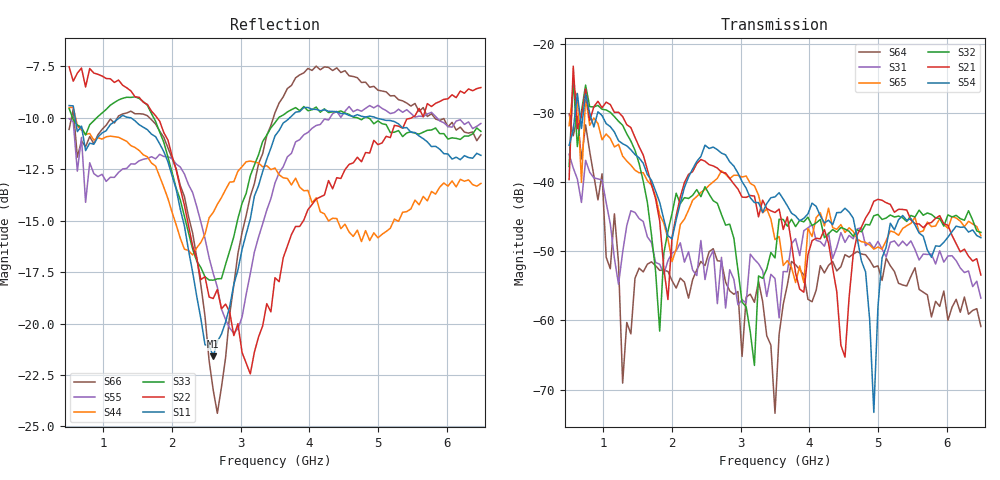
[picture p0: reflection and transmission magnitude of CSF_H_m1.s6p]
!Keysight Technologies,M9804A,MY58100912,A.14.10.03
!Date: Thursday, April 27, 2023 10:28:33
!Correction: S11(C  6-Port  )
!S12(C  6-Port  )
!S13(C  6-Port  )
!S14(C  6-Port  )
!S15(C  6-Port  )
!S16(C  6-Port  )
!S21(C  6-Port  )
!S22(C  6-Port  )
!S23(C  6-Port  )
!S24(C  6-Port  )
!S25(C  6-Port  )
!S26(C  6-Port  )
!S31(C  6-Port  )
!S32(C  6-Port  )
!S33(C  6-Port  )
!S34(C  6-Port  )
!S35(C  6-Port  )
!S36(C  6-Port  )
!S41(C  6-Port  )
!S42(C  6-Port  )
!S43(C  6-Port  )
!S44(C  6-Port  )
!S45(C  6-Port  )
!S46(C  6-Port  )
!S51(C  6-Port  )
!S52(C  6-Port  )
!S53(C  6-Port  )
!S54(C  6-Port  )
!S55(C  6-Port  )
!S56(C  6-Port  )
!S61(C  6-Port  )
!S62(C  6-Port  )
!S63(C  6-Port  )
!S64(C  6-Port  )
!S65(C  6-Port  )
!S66(C  6-Port  )
!S6P File: Measurement: :
# Hz S  RI  R 50
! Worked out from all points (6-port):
!   101 points, 500 MHz to 6.5 GHz, reference 50 ohm
!   strongest paths, dB at 500 MHz, 2 GHz, 3.5 GHz, 5 GHz, 6.5 GHz:
!     S54: -34.7, -48.2, -42.1, -58.0, -48.0
!     S21: -39.6, -47.9, -44.4, -42.5, -53.4
!     S32: -37.7, -44.5, -50.9, -44.7, -47.3
!     S65: -31.8, -51.5, -48.3, -49.4, -47.7
!     S31: -35.9, -50.2, -53.9, -48.5, -56.8
!     S64: -30.1, -54.2, -73.4, -52.1, -60.9
!   lowest |S11| = -21.6 dB at 2.6 GHz (marker M1), VSWR 1.18, Z = 42.6 + j2.06 ohm
!   |S11| at or under -10 dB: 587.9 MHz to 1.233 GHz (645.2 MHz wide, 70.9 % of centre); 1.402 GHz to 3.714 GHz (2.312 GHz wide, 90.4 % of centre); 4.973 GHz to end of sweep
